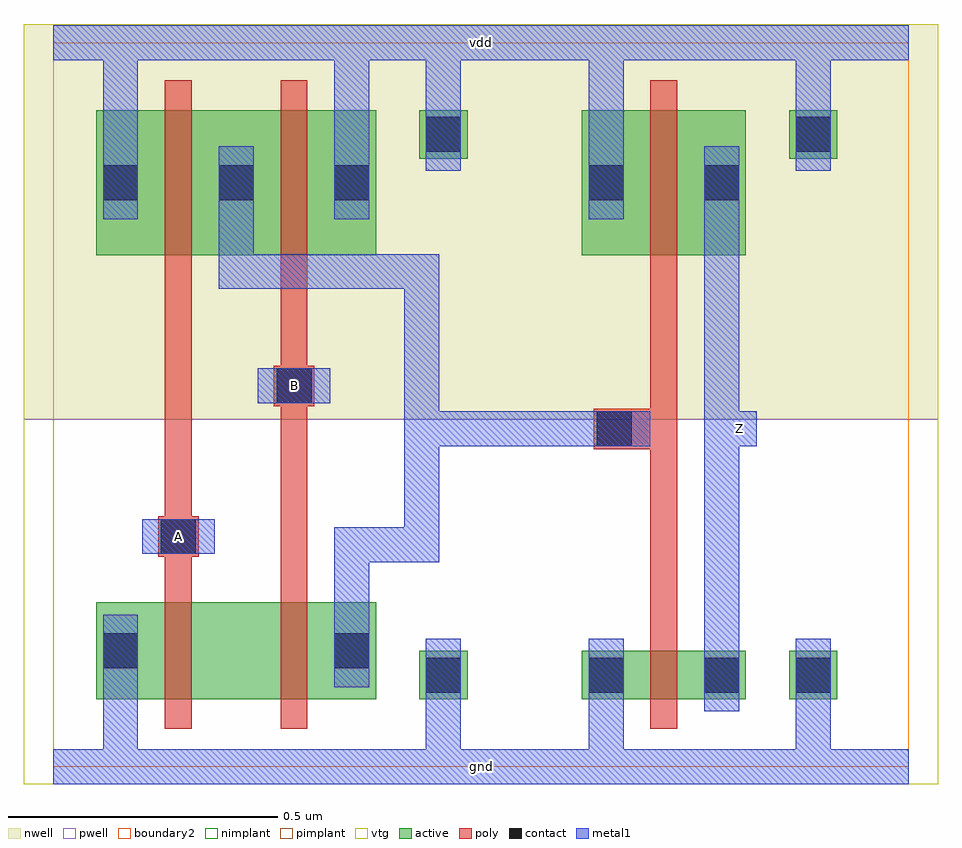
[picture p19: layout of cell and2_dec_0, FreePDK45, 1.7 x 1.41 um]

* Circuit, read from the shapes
.subckt and2_dec_0 A B Z gnd vdd
M1 pnand2_0/nmos_m1_w0_180_sm1_dactive_2/D A gnd gnd nfet w=0.18u l=0.05u
M2 pinv_1/A B pnand2_0/nmos_m1_w0_180_sm1_dactive_2/D gnd nfet w=0.18u l=0.05u
M3 Z pinv_1/A gnd gnd nfet w=0.09u l=0.05u
M4 pinv_1/A A vdd vdd pfet w=0.27u l=0.05u
M5 vdd B pinv_1/A vdd pfet w=0.27u l=0.05u
M6 Z pinv_1/A vdd vdd pfet w=0.27u l=0.05u
.ends

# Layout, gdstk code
import gdstk
lib = gdstk.Library(unit=1e-6, precision=5e-10)
def R(c, l, rs):  # rectangles x0, y0, x1, y1
    for r in rs: c.add(gdstk.rectangle(r[:2], r[2:], *l))
active = (1, 0)
pwell = (2, 0)
nwell = (3, 0)
nimplant = (4, 0)
pimplant = (5, 0)
vtg = (6, 0)
poly = (9, 0)
contact = (10, 0)
metal1 = (11, 0)
boundary2 = (239, 0)

contact_11 = lib.new_cell('contact_11')
R(contact_11, active, [(0,0.0225,0.09,0.1125)])
R(contact_11, nwell, [(-0.055,-0.0325,0.145,0.1675)])
R(contact_11, pimplant, [(0,0.0225,0.09,0.1125)])
R(contact_11, contact, [(0.0125,0.035,0.0775,0.1)])
R(contact_11, metal1, [(0.0125,0,0.0775,0.135)])
R(contact_11, boundary2, [(-0.055,-0.0325,0.145,0.1675)])

pmos_m1_w0_270_sm1_dm1 = lib.new_cell('pmos_m1_w0_270_sm1_dm1')
R(pmos_m1_w0_270_sm1_dm1, active, [(0,0,0.305,0.27)])
R(pmos_m1_w0_270_sm1_dm1, nwell, [(-0.08,-0.08,0.385,0.35)])
R(pmos_m1_w0_270_sm1_dm1, pimplant, [(0,0,0.305,0.27)])
R(pmos_m1_w0_270_sm1_dm1, vtg, [(-0.08,-0.08,0.385,0.35)])
R(pmos_m1_w0_270_sm1_dm1, poly, [(0.1275,-0.055,0.1775,0.325), (0.1275,-0.055,0.1775,0.325)])
R(pmos_m1_w0_270_sm1_dm1, metal1, [(0.0125,0.0675,0.0775,0.2025), (0.2275,0.0675,0.2925,0.2025)])
R(pmos_m1_w0_270_sm1_dm1, boundary2, [(-0.08,-0.08,0.385,0.35)])
pmos_m1_w0_270_sm1_dm1.add(gdstk.Reference(contact_11, (0,0.0675)))
pmos_m1_w0_270_sm1_dm1.add(gdstk.Reference(contact_11, (0.215,0.0675)))
pmos_m1_w0_270_sm1_dm1.add(gdstk.Label('G', (0.1525,0.135), layer=9, texttype=0))
pmos_m1_w0_270_sm1_dm1.add(gdstk.Label('S', (0.045,0.135), layer=11, texttype=0))
pmos_m1_w0_270_sm1_dm1.add(gdstk.Label('D', (0.26,0.135), layer=11, texttype=0))

contact_10 = lib.new_cell('contact_10')
R(contact_10, active, [(0,0.0225,0.09,0.1125)])
R(contact_10, pwell, [(-0.055,-0.0325,0.145,0.1675)])
R(contact_10, nimplant, [(0,0.0225,0.09,0.1125)])
R(contact_10, contact, [(0.0125,0.035,0.0775,0.1)])
R(contact_10, metal1, [(0.0125,0,0.0775,0.135)])
R(contact_10, boundary2, [(-0.055,-0.0325,0.145,0.1675)])

nmos_m1_w0_180_sm1_dacti = lib.new_cell('nmos_m1_w0_180_sm1_dactive')
R(nmos_m1_w0_180_sm1_dacti, active, [(0,0,0.305,0.18), (0.215,0.045,0.305,0.135)])
R(nmos_m1_w0_180_sm1_dacti, pwell, [(-0.08,-0.08,0.385,0.26)])
R(nmos_m1_w0_180_sm1_dacti, nimplant, [(0,0,0.305,0.18)])
R(nmos_m1_w0_180_sm1_dacti, vtg, [(-0.08,-0.08,0.385,0.26)])
R(nmos_m1_w0_180_sm1_dacti, poly, [(0.1275,-0.055,0.1775,0.235), (0.1275,-0.055,0.1775,0.235)])
R(nmos_m1_w0_180_sm1_dacti, metal1, [(0.0125,0.0225,0.0775,0.1575)])
R(nmos_m1_w0_180_sm1_dacti, boundary2, [(-0.08,-0.08,0.385,0.26)])
nmos_m1_w0_180_sm1_dacti.add(gdstk.Reference(contact_10, (0,0.0225)))
nmos_m1_w0_180_sm1_dacti.add(gdstk.Label('G', (0.1525,0.09), layer=9, texttype=0))
nmos_m1_w0_180_sm1_dacti.add(gdstk.Label('S', (0.045,0.09), layer=11, texttype=0))
nmos_m1_w0_180_sm1_dacti.add(gdstk.Label('D', (0.26,0.09), layer=1, texttype=0))

nmos_m1_w0_180_sactive_d = lib.new_cell('nmos_m1_w0_180_sactive_dm1')
R(nmos_m1_w0_180_sactive_d, active, [(0,0,0.305,0.18), (0,0.045,0.09,0.135)])
R(nmos_m1_w0_180_sactive_d, pwell, [(-0.08,-0.08,0.385,0.26)])
R(nmos_m1_w0_180_sactive_d, nimplant, [(0,0,0.305,0.18)])
R(nmos_m1_w0_180_sactive_d, vtg, [(-0.08,-0.08,0.385,0.26)])
R(nmos_m1_w0_180_sactive_d, poly, [(0.1275,-0.055,0.1775,0.235), (0.1275,-0.055,0.1775,0.235)])
R(nmos_m1_w0_180_sactive_d, metal1, [(0.2275,0.0225,0.2925,0.1575)])
R(nmos_m1_w0_180_sactive_d, boundary2, [(-0.08,-0.08,0.385,0.26)])
nmos_m1_w0_180_sactive_d.add(gdstk.Reference(contact_10, (0.215,0.0225)))
nmos_m1_w0_180_sactive_d.add(gdstk.Label('G', (0.1525,0.09), layer=9, texttype=0))
nmos_m1_w0_180_sactive_d.add(gdstk.Label('S', (0.045,0.09), layer=1, texttype=0))
nmos_m1_w0_180_sactive_d.add(gdstk.Label('D', (0.26,0.09), layer=11, texttype=0))

contact_12 = lib.new_cell('contact_12')
R(contact_12, active, [(0,0.0225,0.09,0.1125)])
R(contact_12, nwell, [(-0.055,-0.0325,0.145,0.1675)])
R(contact_12, nimplant, [(0,0.0225,0.09,0.1125)])
R(contact_12, contact, [(0.0125,0.035,0.0775,0.1)])
R(contact_12, metal1, [(0.0125,0,0.0775,0.135)])
R(contact_12, boundary2, [(-0.055,-0.0325,0.145,0.1675)])

contact_13 = lib.new_cell('contact_13')
R(contact_13, active, [(0,0.0225,0.09,0.1125)])
R(contact_13, pwell, [(-0.055,-0.0325,0.145,0.1675)])
R(contact_13, pimplant, [(0,0.0225,0.09,0.1125)])
R(contact_13, contact, [(0.0125,0.035,0.0775,0.1)])
R(contact_13, metal1, [(0.0125,0,0.0775,0.135)])
R(contact_13, boundary2, [(-0.055,-0.0325,0.145,0.1675)])

contact_14 = lib.new_cell('contact_14')
R(contact_14, poly, [(0.03,0,0.105,0.075)])
R(contact_14, contact, [(0.035,0.005,0.1,0.07)])
R(contact_14, metal1, [(0,0.005,0.135,0.07)])
R(contact_14, boundary2, [(0,0,0.135,0.075)])

pnand2 = lib.new_cell('pnand2')
R(pnand2, pwell, [(-0.055,-0.0325,0.9575,0.645)])
R(pnand2, nwell, [(-0.055,0.645,0.9575,1.38)])
R(pnand2, vtg, [(-0.055,-0.0325,0.9575,0.645), (-0.055,0.645,0.9575,1.38)])
R(pnand2, poly, [(0.2075,0.36,0.2575,0.895), (0.4225,0.36,0.4725,0.895), (0.2075,0.39,0.2325,0.465), (0.4225,0.67,0.4475,0.745)])
R(pnand2, metal1, [(0,-0.0325,0.9025,0.0325), (0.0925,-0.0325,0.1575,0.1475), (0.6925,0,0.7575,0.17), (0.5225,0.2825,0.5875,0.4125), (0.5225,0.38,0.5875,0.445), (0.555,0.38,0.685,0.445), (0.6525,0.38,0.7175,0.445), (0.165,0.395,0.3,0.46), (0.6525,0.4125,0.7175,0.92), (0.38,0.675,0.515,0.74), (0.3075,0.8875,0.3725,0.9525), (0.34,0.8875,0.685,0.9525), (0.6525,0.8875,0.7175,0.9525), (0.3075,0.92,0.3725,1.0175), (0.0925,1.0175,0.1575,1.3775), (0.5225,1.0175,0.5875,1.3775), (0.6925,1.175,0.7575,1.345), (0,1.3125,0.9025,1.3775)])
R(pnand2, boundary2, [(0,0,0.9025,1.345), (0,0,0.9025,1.345)])
pnand2.add(gdstk.Reference(pmos_m1_w0_270_sm1_dm1, (0.08,0.95)))
pnand2.add(gdstk.Reference(pmos_m1_w0_270_sm1_dm1, (0.295,0.95)))
pnand2.add(gdstk.Reference(nmos_m1_w0_180_sm1_dacti, (0.08,0.125)))
pnand2.add(gdstk.Reference(nmos_m1_w0_180_sactive_d, (0.295,0.125)))
pnand2.add(gdstk.Reference(contact_12, (0.68,1.1075)))
pnand2.add(gdstk.Reference(contact_13, (0.68,0.1025)))
pnand2.add(gdstk.Reference(contact_14, (0.165,0.39)))
pnand2.add(gdstk.Reference(contact_14, (0.38,0.67)))
pnand2.add(gdstk.Label('Z', (0.685,0.92), layer=11, texttype=0))
pnand2.add(gdstk.Label('gnd', (0.451,0), layer=11, texttype=0))
pnand2.add(gdstk.Label('vdd', (0.451,1.345), layer=11, texttype=0))
pnand2.add(gdstk.Label('A', (0.2325,0.4275), layer=11, texttype=0))
pnand2.add(gdstk.Label('B', (0.4475,0.7075), layer=11, texttype=0))

pmos_m1_w0_270_sm1_dm1_d = lib.new_cell('pmos_m1_w0_270_sm1_dm1_da_p')
R(pmos_m1_w0_270_sm1_dm1_d, active, [(0,0,0.305,0.27)])
R(pmos_m1_w0_270_sm1_dm1_d, nwell, [(-0.08,-0.08,0.385,0.35)])
R(pmos_m1_w0_270_sm1_dm1_d, pimplant, [(0,0,0.305,0.27)])
R(pmos_m1_w0_270_sm1_dm1_d, vtg, [(-0.08,-0.08,0.385,0.35)])
R(pmos_m1_w0_270_sm1_dm1_d, poly, [(0.1275,-0.055,0.1775,0.325), (0.1275,-0.055,0.1775,0.325)])
R(pmos_m1_w0_270_sm1_dm1_d, metal1, [(0.0125,0.0675,0.0775,0.2025), (0.2275,0.0675,0.2925,0.2025)])
R(pmos_m1_w0_270_sm1_dm1_d, boundary2, [(-0.08,-0.08,0.385,0.35)])
pmos_m1_w0_270_sm1_dm1_d.add(gdstk.Reference(contact_11, (0,0.0675)))
pmos_m1_w0_270_sm1_dm1_d.add(gdstk.Reference(contact_11, (0.215,0.0675)))
pmos_m1_w0_270_sm1_dm1_d.add(gdstk.Label('G', (0.1525,0.135), layer=9, texttype=0))
pmos_m1_w0_270_sm1_dm1_d.add(gdstk.Label('S', (0.045,0.135), layer=11, texttype=0))
pmos_m1_w0_270_sm1_dm1_d.add(gdstk.Label('D', (0.26,0.135), layer=11, texttype=0))

nmos_m1_w0_090_sm1_dm1_d = lib.new_cell('nmos_m1_w0_090_sm1_dm1_da_p')
R(nmos_m1_w0_090_sm1_dm1_d, active, [(0,0,0.305,0.09)])
R(nmos_m1_w0_090_sm1_dm1_d, pwell, [(-0.08,-0.08,0.385,0.17)])
R(nmos_m1_w0_090_sm1_dm1_d, nimplant, [(0,0,0.305,0.09)])
R(nmos_m1_w0_090_sm1_dm1_d, vtg, [(-0.08,-0.08,0.385,0.17)])
R(nmos_m1_w0_090_sm1_dm1_d, poly, [(0.1275,-0.055,0.1775,0.145), (0.1275,-0.055,0.1775,0.145)])
R(nmos_m1_w0_090_sm1_dm1_d, metal1, [(0.0125,-0.0225,0.0775,0.1125), (0.2275,-0.0225,0.2925,0.1125)])
R(nmos_m1_w0_090_sm1_dm1_d, boundary2, [(-0.08,-0.08,0.385,0.17)])
nmos_m1_w0_090_sm1_dm1_d.add(gdstk.Reference(contact_10, (0,-0.0225)))
nmos_m1_w0_090_sm1_dm1_d.add(gdstk.Reference(contact_10, (0.215,-0.0225)))
nmos_m1_w0_090_sm1_dm1_d.add(gdstk.Label('G', (0.1525,0.045), layer=9, texttype=0))
nmos_m1_w0_090_sm1_dm1_d.add(gdstk.Label('S', (0.045,0.045), layer=11, texttype=0))
nmos_m1_w0_090_sm1_dm1_d.add(gdstk.Label('D', (0.26,0.045), layer=11, texttype=0))

pinv = lib.new_cell('pinv')
R(pinv, pwell, [(-0.055,-0.0325,0.7425,0.645)])
R(pinv, nwell, [(-0.055,0.645,0.7425,1.38)])
R(pinv, vtg, [(-0.055,-0.0325,0.7425,0.645), (-0.055,0.645,0.7425,1.38)])
R(pinv, poly, [(0.2075,0.27,0.2575,0.895), (0.14,0.59,0.2075,0.665)])
R(pinv, metal1, [(0,-0.0325,0.6875,0.0325), (0.0925,-0.0325,0.1575,0.1025), (0.4775,0,0.5425,0.17), (0.3075,0.1025,0.3725,1.1525), (0.0725,0.595,0.2075,0.66), (0.34,0.595,0.405,0.66), (0.0925,1.0175,0.1575,1.3775), (0.4775,1.175,0.5425,1.345), (0,1.3125,0.6875,1.3775)])
R(pinv, boundary2, [(0,0,0.6875,1.345), (0,0,0.6875,1.345)])
pinv.add(gdstk.Reference(pmos_m1_w0_270_sm1_dm1_d, (0.08,0.95)))
pinv.add(gdstk.Reference(nmos_m1_w0_090_sm1_dm1_d, (0.08,0.125)))
pinv.add(gdstk.Reference(contact_12, (0.465,1.1075)))
pinv.add(gdstk.Reference(contact_13, (0.465,0.1025)))
pinv.add(gdstk.Reference(contact_14, (0.0725,0.59)))
pinv.add(gdstk.Label('A', (0.14,0.6275), layer=11, texttype=0))
pinv.add(gdstk.Label('Z', (0.3725,0.6275), layer=11, texttype=0))
pinv.add(gdstk.Label('gnd', (0.344,0), layer=11, texttype=0))
pinv.add(gdstk.Label('vdd', (0.344,1.345), layer=11, texttype=0))

and2_dec_0 = lib.new_cell('and2_dec_0')
R(and2_dec_0, metal1, [(0,-0.0325,1.59,0.0325), (0.165,0.395,0.3,0.46), (0.6525,0.595,0.7175,0.66), (0.685,0.595,1.0425,0.66), (1.2425,0.595,1.3075,0.66), (0.6525,0.6275,0.7175,0.92), (0.38,0.675,0.515,0.74), (0,1.3125,1.59,1.3775)])
R(and2_dec_0, boundary2, [(0,0,1.59,1.345)])
and2_dec_0.add(gdstk.Reference(pnand2, (0,0)))
and2_dec_0.add(gdstk.Reference(pinv, (0.9025,0)))
and2_dec_0.add(gdstk.Label('Z', (1.275,0.6275), layer=11, texttype=0))
and2_dec_0.add(gdstk.Label('A', (0.2325,0.4275), layer=11, texttype=0))
and2_dec_0.add(gdstk.Label('B', (0.4475,0.7075), layer=11, texttype=0))
and2_dec_0.add(gdstk.Label('gnd', (0.795,0), layer=11, texttype=0))
and2_dec_0.add(gdstk.Label('vdd', (0.795,1.345), layer=11, texttype=0))

lib.write_gds('and2_dec_0.gds')
